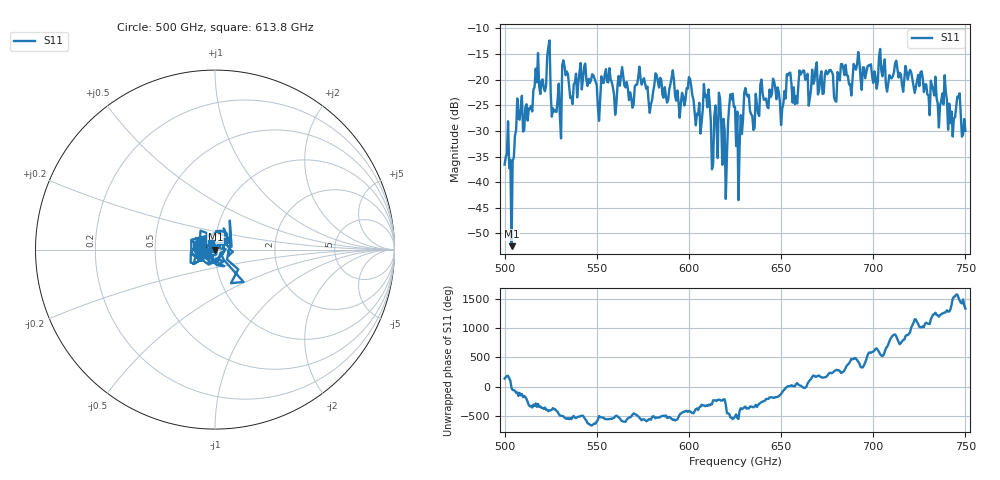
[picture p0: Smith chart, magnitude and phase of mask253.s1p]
!Created with skrf (http://scikit-rf.org).
# GHz S MA R 50.0
!freq magS11 angS11
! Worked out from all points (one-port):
!   401 points, 500 GHz to 750 GHz, reference 50 ohm
!   lowest |S11| = -52.5 dB at 503.8 GHz (marker M1), VSWR 1.00, Z = 50.2 - j0.101 ohm
!   |S11| at or under -10 dB: start of sweep to end of sweep
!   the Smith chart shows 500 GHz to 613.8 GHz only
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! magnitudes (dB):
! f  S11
! 500 GHz  -36.6
! 503.8 GHz  -52.5
! 508.1 GHz  -27.8
! 513.8 GHz  -25.8
! 516.9 GHz  -17.9
! 523.8 GHz  -13.7
! 526.9 GHz  -26.2
! 531.2 GHz  -17.2
! 532.5 GHz  -17.4
! 536.2 GHz  -23.3
! 562.5 GHz  -21.2
! 593.8 GHz  -22.1
! 600 GHz  -19.5
! 605 GHz  -26.8
! 609.4 GHz  -23.0
! 612.5 GHz  -37.5
! 617.5 GHz  -28.3
! 619.4 GHz  -29.8
! 622.5 GHz  -22.9
! 625 GHz  -25.3
! 626.9 GHz  -43.5
! 631.2 GHz  -22.9
! 634.4 GHz  -27.1
! 640 GHz  -22.8
! 656.2 GHz  -24.5
! 687.5 GHz  -20.9
! 718.8 GHz  -20.0
! 750 GHz  -30.0
